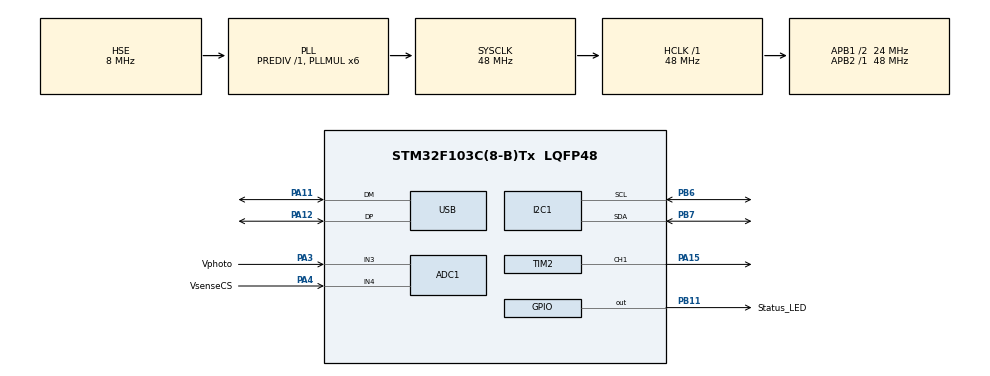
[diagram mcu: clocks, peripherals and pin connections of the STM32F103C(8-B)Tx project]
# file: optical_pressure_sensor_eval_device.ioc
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Mcu.Family=STM32F1
TIM2.Channel-Output\ Compare1\ CH1=TIM_CHANNEL_1
USB_DEVICE.CLASS_NAME_FS=CDC
Dma.ADC1.0.Instance=DMA1_Channel1
PD1-OSC_OUT.Mode=HSE-External-Oscillator
ADC1.Channel-4\#ChannelRegularConversion=ADC_CHANNEL_4
USB_DEVICE.VirtualModeFS=Cdc_FS
PB11.GPIO_Label=Status_LED
PA11.Mode=Device
PD0-OSC_IN.Signal=RCC_OSC_IN
RCC.APB1CLKDivider=RCC_HCLK_DIV2
PB11.Signal=GPIO_Output
RCC.SYSCLKSource=RCC_SYSCLKSOURCE_PLLCLK
ProjectManager.StackSize=0x400
PD1-OSC_OUT.Signal=RCC_OSC_OUT
RCC.ADCPresc=RCC_ADCPCLK2_DIV4
PA13.Signal=SYS_JTMS-SWDIO
Dma.ADC1.0.PeriphDataAlignment=DMA_PDATAALIGN_HALFWORD
PA12.Signal=USB_DP
ProjectManager.TargetToolchain=STM32CubeIDE
Dma.ADC1.0.Mode=DMA_NORMAL
RCC.HCLKFreq_Value=48000000
SH.ADCx_IN3.0=ADC1_IN3,IN3
VP_USB_DEVICE_VS_USB_DEVICE_CDC_FS.Mode=CDC_FS
Dma.ADC1.0.Priority=DMA_PRIORITY_LOW
RCC.APB2TimFreq_Value=48000000
PB6.Signal=I2C1_SCL
Dma.ADC1.0.Direction=DMA_PERIPH_TO_MEMORY
PB6.Mode=I2C
RCC.USBFreq_Value=48000000
Dma.ADC1.0.MemDataAlignment=DMA_MDATAALIGN_HALFWORD
RCC.AHBFreq_Value=48000000
PD0-OSC_IN.Mode=HSE-External-Oscillator
PB3.Mode=Trace_Asynchronous_SW
board=custom
RCC.PLLMUL=RCC_PLL_MUL6
ADC1.SamplingTime-4\#ChannelRegularConversion=ADC_SAMPLETIME_1CYCLE_5
RCC.APB2Freq_Value=48000000
PA14.Mode=Trace_Asynchronous_SW
Dma.ADC1.0.PeriphInc=DMA_PINC_DISABLE
NVIC.USB_LP_CAN1_RX0_IRQn=true\:2\:0\:true\:false\:true\:false\:true
NVIC.TIM2_IRQn=true\:1\:0\:true\:false\:true\:true\:true
SH.ADCx_IN4.0=ADC1_IN4,IN4
PB7.Signal=I2C1_SDA
PA13.Mode=Trace_Asynchronous_SW
Mcu.Name=STM32F103C(8-B)Tx
PB3.Signal=SYS_JTDO-TRACESWO
PA4.Signal=ADCx_IN4
RCC.SYSCLKFreq_VALUE=48000000
Mcu.Package=LQFP48
TIM2.Prescaler=400-1
ADC1.master=1
TIM2.OCMode_1=TIM_OCMODE_TOGGLE
PA12.Mode=Device
PB7.Mode=I2C
PA11.Signal=USB_DM
SH.S_TIM2_CH1_ETR.0=TIM2_CH1,Output Compare1 CH1
PA14.Signal=SYS_JTCK-SWCLK
Dma.ADC1.0.MemInc=DMA_MINC_ENABLE
PA15.Signal=S_TIM2_CH1_ETR
ProjectManager.HeapSize=0x200
NVIC.PriorityGroup=NVIC_PRIORITYGROUP_4
ADC1.NbrOfConversionFlag=1
RCC.APB1TimFreq_Value=48000000
NVIC.DMA1_Channel1_IRQn=true\:2\:0\:true\:false\:true\:false\:true
Dma.Request0=ADC1
RCC.APB1Freq_Value=24000000
USB_DEVICE.VirtualMode=Cdc
PA4.GPIO_Label=VsenseCS
ADC1.Rank-4\#ChannelRegularConversion=1
PA3.GPIO_Label=Vphoto
PA3.Signal=ADCx_IN3

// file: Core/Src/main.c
/* USER CODE BEGIN Header */
/**
  ******************************************************************************
  * @file           : main.c
  * @brief          : Main program body
  ******************************************************************************
  * @attention
  *
  * <h2><center>&copy; Copyright (c) 2021 STMicroelectronics.
  * All rights reserved.</center></h2>
  *
  * This software component is licensed by ST under BSD 3-Clause license,
  * the "License"; You may not use this file except in compliance with the
  * License. You may obtain a copy of the License at:
  *                        opensource.org/licenses/BSD-3-Clause
  *
  ******************************************************************************
  */
/* USER CODE END Header */
#include "main.h"
#include "usb_device.h"

/* USER CODE BEGIN Includes */
#include "usbd_cdc_if.h"
#include "frameEncoder.h"
/* USER CODE END Includes */

ADC_HandleTypeDef hadc1;
DMA_HandleTypeDef hdma_adc1;

I2C_HandleTypeDef hi2c1;

TIM_HandleTypeDef htim2;

/* USER CODE BEGIN PV */
void delay_cycles(uint32_t cycles);

enum fsmState{
	ST_IDLE,
	ST_MEASURE,
	ST_TRANSMIT_DATA,
};
static enum fsmState state = ST_IDLE; // Global FSM State
/* USER CODE END PV */

void SystemClock_Config(void);
static void MX_GPIO_Init(void);
static void MX_DMA_Init(void);
static void MX_I2C1_Init(void);
static void MX_ADC1_Init(void);
static void MX_TIM2_Init(void);

int main(void)
{
  /* USER CODE BEGIN 1 */
	const uint8_t NUM_MEASUREMENTS = 3;
	uint16_t measurementBuffer[NUM_MEASUREMENTS];
	FrameContent frameContent;
	uint8_t firstStartByte = 0xAA;
	uint8_t secondStartByte = 0x55;
	initFrameContentStruct(&frameContent, firstStartByte, secondStartByte);

	uint16_t FMA_I2C_ADDRESS = 0x28 << 1;
	uint8_t i2cBuffer[5];
	uint8_t REG_DATA = 0x00;
	uint16_t forceValue = 0;
	HAL_StatusTypeDef status;
  	uint16_t STATE_MACHINE_CLOCK_FREQ_HZ = 1;
  	uint16_t adcBuffer[2] = {0,0};

  /* USER CODE END 1 */

  /* MCU Configuration--------------------------------------------------------*/

  /* Reset of all peripherals, Initializes the Flash interface and the Systick. */
  HAL_Init();

  /* Configure the system clock */
  SystemClock_Config();

  /* Initialize all configured peripherals */
  MX_GPIO_Init();
  MX_DMA_Init();
  MX_I2C1_Init();
  MX_USB_DEVICE_Init();
  MX_ADC1_Init();
  MX_TIM2_Init();
  /* USER CODE BEGIN 2 */

    // RCC Clocks in RCC_APB2ENR: all enabled via the init functions (see Register content).
    TIM2->PSC = 4000-1;
	uint16_t arrValue = 48000000/((TIM2->PSC)+1)/STATE_MACHINE_CLOCK_FREQ_HZ;
	uint16_t ccr1Value = arrValue; // ARR value = ccr value to toggle pin in sync with state machine.
	TIM2->ARR = arrValue; // Initally set the 10 Hz FSM Clock
	TIM2->CCR1 = ccr1Value; // Value is compared against the CNT registers value
	TIM2->DIER |= TIM_DIER_CC1IE; // Enable Interrupts for the capture compare channel 1 (to GPIO).
	// TIM15->CCMR1 |= (TIM_CCMR1_OC2M & (TIM_OCMODE_TOGGLE << TIM_CCMR1_OC2M_Pos)); // set [14:12] to [011], already done in MXCUBE (sConfigOC.OCMode = TIM_OCMODE_TOGGLE)
	TIM2->CCER |= TIM_CCER_CC1E; // Enable the capture compare output on channel 1.
	TIM2->DIER |= TIM_DIER_UIE; // Enable interrupt generation when CNT = ARR.
	TIM2->CR1 |= TIM_CR1_CEN; // Start the timer.

	// ************* ADC SETUP ***************************
	// Configure ADC channel pins as push/pull.
	GPIOA->CRL |= GPIO_CRL_CNF3_1;
	GPIOA->CRL &= (~GPIO_CRL_CNF3_0);
	GPIOA->CRL |= GPIO_CRL_CNF4_1;
	GPIOA->CRL &= (~GPIO_CRL_CNF4_0);

	// Enable scan mode and DMA transfer for further conversions.
	// ADC1->CR2 |= ADC_CR2_CONT;
	ADC1->CR1 |= ADC_CR1_SCAN;
	ADC1->CR2 |= ADC_CR2_DMA;

	// Set the sequence length and order.
	ADC1->SQR1 |= (ADC_SQR1_L & (0x01<<ADC_SQR1_L_Pos)); // 0x01 = 2 conversions.
	// Set the ADC sample rate by defining the number of cycles for each conversion:
	uint16_t SMP3_239_5_conversions = (ADC_SMPR2_SMP3 & 0x07<<ADC_SMPR2_SMP3_Pos); // For channel 3.
	uint16_t SMP4_239_5_conversions = (ADC_SMPR2_SMP4 & 0x07<<ADC_SMPR2_SMP4_Pos); // For channel 4.
	ADC1->SMPR2 |= (SMP3_239_5_conversions | SMP4_239_5_conversions);

	// Order for channels 3 and 4:
	ADC1->SQR3 = (ADC_SQR3_SQ1 & 0x03<<ADC_SQR3_SQ1_Pos); // Reset register and set first sequence place as channel number 3.
	ADC1->SQR3 |= (ADC_SQR3_SQ2 & 0x04<<ADC_SQR3_SQ2_Pos); // Set second sequence place as channel number 4.

	// Wake up the ADC from any power-down mode.
	ADC1->CR2 |= ADC_CR2_ADON;
	HAL_Delay(1);
	// Turn the ADC on a second time (TODO: NECESSARY?).
	ADC1->CR2 |= ADC_CR2_ADON;

	ADC1->CR2 |= ADC_CR2_CAL; // set calibration start bit
	while(ADC1->CR2 & ADC_CR2_CAL)
	{
		asm("NOP"); // Wait for the calibration to finish. ADC_CR2_CAL flips back to 0.
	}

	// ************* DMA SETUP ***************************
	// RCC->AHB1ENR |= RCC_AHB1ENR_DMA1EN; // Enable DMA1 bus connection. Already done in MX_DMA_Init() by __HAL_RCC_DMA1_CLK_ENABLE()
	DMA1_Channel1->CPAR = (uint32_t)(&(ADC1->DR)); // Passes the ADC1 data register address to DMA Controller.
	DMA1_Channel1->CMAR = (uint32_t)adcBuffer;
	DMA1_Channel1->CNDTR = 2; // 2 increments in total (2 ADC channels are used, CH3 and CH4). Needs to be written when the DMA channel is disabled (p. 287).
	DMA1_Channel1->CCR |= DMA_CCR_CIRC; // Circular mode for adcBuffer.
	DMA1_Channel1->CCR |= DMA_CCR_MINC; // Memory increment mode on memory (when DIR = 0).
	DMA1_Channel1->CCR |= (DMA_CCR_MSIZE_0); // Memory data size = 16 bit (0x01 in respective location).
	DMA1_Channel1->CCR |= (DMA_CCR_PSIZE_0); // Peripheral data size = 16 bit.
	DMA1_Channel1->CCR |= DMA_CCR_EN; // After the setup, enable the DMA channel 1.

	int numTxBytes = 0;
  /* USER CODE END 2 */

  /* Infinite loop */
  /* USER CODE BEGIN WHILE */
  while (1)
  {
	switch(state)
	{
	case ST_IDLE:
		asm("NOP"); // Wait for the timer interrupt to trigger ST_TRIGGER_ADC
		break;
	case ST_MEASURE:
		// Start the ADC conversion.
		ADC1->CR2 |= ADC_CR2_ADON;
		// Read out the FMA force sensor.
		i2cBuffer[0] = REG_DATA; // TODO: WHY DID I ADD THIS?
		status = HAL_I2C_Master_Transmit(&hi2c1, FMA_I2C_ADDRESS, i2cBuffer, 1, 1000);
		if(status != HAL_OK)
		{
			forceValue = 1; // Error value for TX Error
		}
		else
		{
			status = HAL_I2C_Master_Receive(&hi2c1, FMA_I2C_ADDRESS, i2cBuffer, 2, 1000);
			if(status != HAL_OK)
			{
				forceValue = 0x2; // Error value for RX Error
			}
			else
			{
				forceValue = ((uint16_t)i2cBuffer[0] << 8 & 0x3F00) | ((uint16_t)i2cBuffer[1] & 0x00FF); // [0] = MSB, [1] = LSB
			}
		}
		// Read out the ADC.
		while(!(DMA1->ISR & DMA_ISR_TCIF1))
		{
			asm("NOP"); // Wait for conversion to finish.
		}
		DMA1->IFCR |= DMA_IFCR_CTCIF1; // clear transfer bit by writing to the IFCR Register.

		// Capture vcsel drive and photo current.
		measurementBuffer[0] = forceValue;
		measurementBuffer[1] = adcBuffer[0];
		measurementBuffer[2] = adcBuffer[1];
		state = ST_TRANSMIT_DATA;
		break;
	case ST_TRANSMIT_DATA:
		// Send via usb.
		numTxBytes = encodeFrame(measurementBuffer, NUM_MEASUREMENTS, &frameContent);
		status = CDC_Transmit_FS(frameContent.txBuffer, numTxBytes);
		state = ST_IDLE;
	}
    /* USER CODE END WHILE */

  }
}

void SystemClock_Config(void)
{
  RCC_OscInitTypeDef RCC_OscInitStruct = {0};
  RCC_ClkInitTypeDef RCC_ClkInitStruct = {0};
  RCC_PeriphCLKInitTypeDef PeriphClkInit = {0};

  /** Initializes the RCC Oscillators according to the specified parameters
  * in the RCC_OscInitTypeDef structure.
  */
  RCC_OscInitStruct.OscillatorType = RCC_OSCILLATORTYPE_HSE;
  RCC_OscInitStruct.HSEState = RCC_HSE_ON;
  RCC_OscInitStruct.HSEPredivValue = RCC_HSE_PREDIV_DIV1;
  RCC_OscInitStruct.HSIState = RCC_HSI_ON;
  RCC_OscInitStruct.PLL.PLLState = RCC_PLL_ON;
  RCC_OscInitStruct.PLL.PLLSource = RCC_PLLSOURCE_HSE;
  RCC_OscInitStruct.PLL.PLLMUL = RCC_PLL_MUL6;
  if (HAL_RCC_OscConfig(&RCC_OscInitStruct) != HAL_OK)
  {
    Error_Handler();
  }
  /** Initializes the CPU, AHB and APB buses clocks
  */
  RCC_ClkInitStruct.ClockType = RCC_CLOCKTYPE_HCLK|RCC_CLOCKTYPE_SYSCLK
                              |RCC_CLOCKTYPE_PCLK1|RCC_CLOCKTYPE_PCLK2;
  RCC_ClkInitStruct.SYSCLKSource = RCC_SYSCLKSOURCE_PLLCLK;
  RCC_ClkInitStruct.AHBCLKDivider = RCC_SYSCLK_DIV1;
  RCC_ClkInitStruct.APB1CLKDivider = RCC_HCLK_DIV2;
  RCC_ClkInitStruct.APB2CLKDivider = RCC_HCLK_DIV1;

  if (HAL_RCC_ClockConfig(&RCC_ClkInitStruct, FLASH_LATENCY_1) != HAL_OK)
  {
    Error_Handler();
  }
  PeriphClkInit.PeriphClockSelection = RCC_PERIPHCLK_ADC|RCC_PERIPHCLK_USB;
  PeriphClkInit.AdcClockSelection = RCC_ADCPCLK2_DIV4;
  PeriphClkInit.UsbClockSelection = RCC_USBCLKSOURCE_PLL;
  if (HAL_RCCEx_PeriphCLKConfig(&PeriphClkInit) != HAL_OK)
  {
    Error_Handler();
  }
}

static void MX_ADC1_Init(void)
{

  ADC_ChannelConfTypeDef sConfig = {0};

  /** Common config
  */
  hadc1.Instance = ADC1;
  hadc1.Init.ScanConvMode = ADC_SCAN_DISABLE;
  hadc1.Init.ContinuousConvMode = DISABLE;
  hadc1.Init.DiscontinuousConvMode = DISABLE;
  hadc1.Init.ExternalTrigConv = ADC_SOFTWARE_START;
  hadc1.Init.DataAlign = ADC_DATAALIGN_RIGHT;
  hadc1.Init.NbrOfConversion = 1;
  if (HAL_ADC_Init(&hadc1) != HAL_OK)
  {
    Error_Handler();
  }
  /** Configure Regular Channel
  */
  sConfig.Channel = ADC_CHANNEL_4;
  sConfig.Rank = ADC_REGULAR_RANK_1;
  sConfig.SamplingTime = ADC_SAMPLETIME_1CYCLE_5;
  if (HAL_ADC_ConfigChannel(&hadc1, &sConfig) != HAL_OK)
  {
    Error_Handler();
  }

}

static void MX_I2C1_Init(void)
{

  hi2c1.Instance = I2C1;
  hi2c1.Init.ClockSpeed = 100000;
  hi2c1.Init.DutyCycle = I2C_DUTYCYCLE_2;
  hi2c1.Init.OwnAddress1 = 0;
  hi2c1.Init.AddressingMode = I2C_ADDRESSINGMODE_7BIT;
  hi2c1.Init.DualAddressMode = I2C_DUALADDRESS_DISABLE;
  hi2c1.Init.OwnAddress2 = 0;
  hi2c1.Init.GeneralCallMode = I2C_GENERALCALL_DISABLE;
  hi2c1.Init.NoStretchMode = I2C_NOSTRETCH_DISABLE;
  if (HAL_I2C_Init(&hi2c1) != HAL_OK)
  {
    Error_Handler();
  }

}

static void MX_TIM2_Init(void)
{

  TIM_MasterConfigTypeDef sMasterConfig = {0};
  TIM_OC_InitTypeDef sConfigOC = {0};

  htim2.Instance = TIM2;
  htim2.Init.Prescaler = 400-1;
  htim2.Init.CounterMode = TIM_COUNTERMODE_UP;
  htim2.Init.Period = 65535;
  htim2.Init.ClockDivision = TIM_CLOCKDIVISION_DIV1;
  htim2.Init.AutoReloadPreload = TIM_AUTORELOAD_PRELOAD_DISABLE;
  if (HAL_TIM_OC_Init(&htim2) != HAL_OK)
  {
    Error_Handler();
  }
  sMasterConfig.MasterOutputTrigger = TIM_TRGO_RESET;
  sMasterConfig.MasterSlaveMode = TIM_MASTERSLAVEMODE_DISABLE;
  if (HAL_TIMEx_MasterConfigSynchronization(&htim2, &sMasterConfig) != HAL_OK)
  {
    Error_Handler();
  }
  sConfigOC.OCMode = TIM_OCMODE_TOGGLE;
  sConfigOC.Pulse = 0;
  sConfigOC.OCPolarity = TIM_OCPOLARITY_HIGH;
  sConfigOC.OCFastMode = TIM_OCFAST_DISABLE;
  if (HAL_TIM_OC_ConfigChannel(&htim2, &sConfigOC, TIM_CHANNEL_1) != HAL_OK)
  {
    Error_Handler();
  }
  HAL_TIM_MspPostInit(&htim2);

}

static void MX_DMA_Init(void)
{

  /* DMA controller clock enable */
  __HAL_RCC_DMA1_CLK_ENABLE();

  /* DMA interrupt init */
  /* DMA1_Channel1_IRQn interrupt configuration */
  HAL_NVIC_SetPriority(DMA1_Channel1_IRQn, 2, 0);
  HAL_NVIC_EnableIRQ(DMA1_Channel1_IRQn);

}

static void MX_GPIO_Init(void)
{
  GPIO_InitTypeDef GPIO_InitStruct = {0};

  /* GPIO Ports Clock Enable */
  __HAL_RCC_GPIOD_CLK_ENABLE();
  __HAL_RCC_GPIOA_CLK_ENABLE();
  __HAL_RCC_GPIOB_CLK_ENABLE();

  /*Configure GPIO pin Output Level */
  HAL_GPIO_WritePin(Status_LED_GPIO_Port, Status_LED_Pin, GPIO_PIN_RESET);

  /*Configure GPIO pin : Status_LED_Pin */
  GPIO_InitStruct.Pin = Status_LED_Pin;
  GPIO_InitStruct.Mode = GPIO_MODE_OUTPUT_PP;
  GPIO_InitStruct.Pull = GPIO_NOPULL;
  GPIO_InitStruct.Speed = GPIO_SPEED_FREQ_LOW;
  HAL_GPIO_Init(Status_LED_GPIO_Port, &GPIO_InitStruct);

}

/* USER CODE BEGIN 4 */
void HAL_TIM_PeriodElapsedCallback(TIM_HandleTypeDef *htim)
{

	if(htim->Instance == TIM2)
	{
		state = ST_MEASURE;
	}
}

void delay_cycles(uint32_t cycles)
{
	volatile int tick = 0;
	for(int n = 0; n < cycles; n++)
	{
		tick++;
	}
}

/* USER CODE END 4 */

void Error_Handler(void)
{
  __disable_irq();
  while (1)
  {
  }
}

/************************ (C) COPYRIGHT STMicroelectronics *****END OF FILE****/
